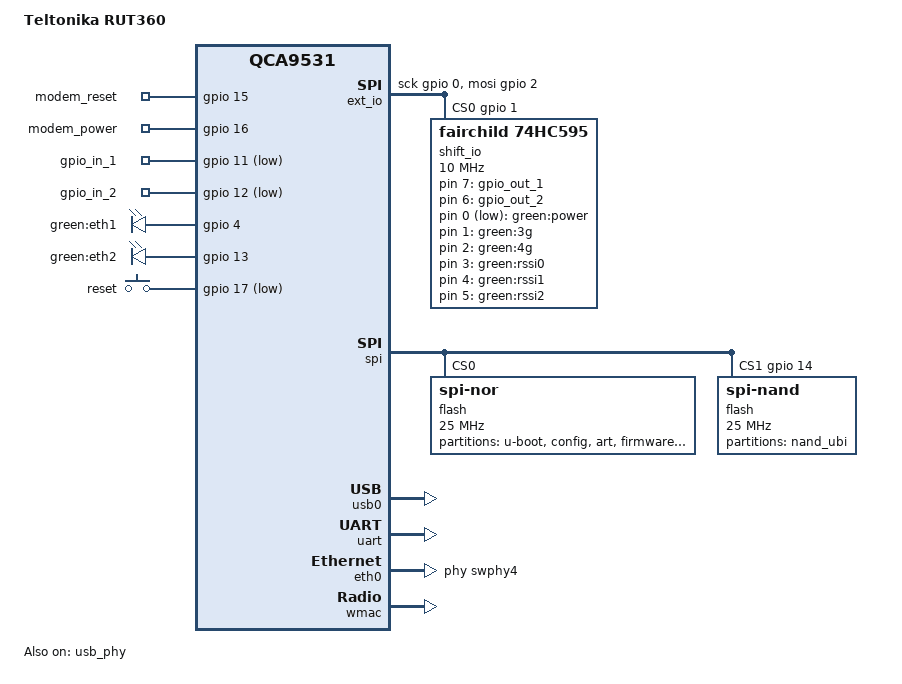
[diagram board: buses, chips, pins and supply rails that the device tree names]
// SPDX-License-Identifier: GPL-2.0-or-later OR MIT
/dts-v1/;

#include <dt-bindings/gpio/gpio.h>
#include <dt-bindings/input/input.h>
#include "qca953x.dtsi"

/ {
	compatible = "teltonika,rut360", "teltonika,rut36x", "qca,qca9531";
	model = "Teltonika RUT360";

	aliases {
		label-mac-device = &eth1;
		led-boot = &led_power;
		led-failsafe = &led_rssi0;
		led-running = &led_power;
		led-upgrade = &led_rssi0;
		serial0 = &uart;
	};

	ext_io {
		compatible = "spi-gpio";
		#address-cells = <1>;
		#size-cells = <0>;

		gpio-sck = <&gpio 0 GPIO_ACTIVE_HIGH>;  // SRCLK
		gpio-mosi = <&gpio 2 GPIO_ACTIVE_HIGH>; // SER
		cs-gpios = <&gpio 1 GPIO_ACTIVE_HIGH>;  // RCLK
		num-chipselects = <1>;

		shift_io: shift_io@0 {
			compatible = "fairchild,74hc595";
			reg = <0>;
			gpio-controller;
			#gpio-cells = <2>;
			registers-number = <2>;
			spi-max-frequency = <10000000>;
		};
	};

	gpio-export {
		compatible = "gpio-export";

		gpio_modem_reset {
			gpio-export,name = "modem_reset";
			gpio-export,output = <0>;
			gpios = <&gpio 15 GPIO_ACTIVE_HIGH>;
		};

		gpio_modem_power {
			gpio-export,name = "modem_power";
			gpio-export,output = <0>;
			gpios = <&gpio 16 GPIO_ACTIVE_HIGH>;
		};

		gpio_in_1 {
			gpio-export,name = "gpio_in_1";
			gpio-export,input = <0>;
			gpios = <&gpio 11 GPIO_ACTIVE_LOW>;
		};

		gpio_in_2 {
			gpio-export,name = "gpio_in_2";
			gpio-export,input = <0>;
			gpios = <&gpio 12 GPIO_ACTIVE_LOW>;
		};

		gpio_out_1 {
			gpio-export,name = "gpio_out_1";
			gpio-export,output = <0>;
			gpios = <&shift_io 7 GPIO_ACTIVE_HIGH>;
		};

		gpio_out_2 {
			gpio-export,name = "gpio_out_2";
			gpio-export,output = <0>;
			gpios = <&shift_io 6 GPIO_ACTIVE_HIGH>;
		};
	};

	leds {
		compatible = "gpio-leds";

		led-0 {
			label = "green:eth1";
			gpios = <&gpio 4 GPIO_ACTIVE_HIGH>;
		};

		led-1 {
			label = "green:eth2";
			gpios = <&gpio 13 GPIO_ACTIVE_HIGH>;
		};

		led_power: led-2 {
			label = "green:power";
			gpios = <&shift_io 0 GPIO_ACTIVE_LOW>;
			default-state = "on";
			retain-state-suspended;
		};

		led-3 {
			label = "green:3g";
			gpios = <&shift_io 1 GPIO_ACTIVE_HIGH>;
		};

		led-4 {
			label = "green:4g";
			gpios = <&shift_io 2 GPIO_ACTIVE_HIGH>;
		};

		led_rssi0: led-5 {
			label = "green:rssi0";
			gpios = <&shift_io 3 GPIO_ACTIVE_HIGH>;
		};

		led-6 {
			label = "green:rssi1";
			gpios = <&shift_io 4 GPIO_ACTIVE_HIGH>;
		};

		led-7 {
			label = "green:rssi2";
			gpios = <&shift_io 5 GPIO_ACTIVE_HIGH>;
		};
	};

	keys {
		compatible = "gpio-keys";

		reset {
			label = "reset";
			linux,code = <KEY_RESTART>;
			gpios = <&gpio 17 GPIO_ACTIVE_LOW>;
		};
	};
};

&spi {
	status = "okay";

	num-cs = <2>;
	cs-gpios = <0>, <&gpio 14 GPIO_ACTIVE_HIGH>;

	flash@0 {
		compatible = "jedec,spi-nor";
		reg = <0>;
		spi-max-frequency = <25000000>;

		partitions {
			compatible = "fixed-partitions";
			#address-cells = <1>;
			#size-cells = <1>;

			partition@0 {
				label = "u-boot";
				reg = <0x000000 0x020000>;
				read-only;
			};

			config: partition@20000 {
				label = "config";
				reg = <0x020000 0x010000>;
				read-only;

				nvmem-layout {
					compatible = "fixed-layout";
					#address-cells = <1>;
					#size-cells = <1>;

					macaddr_config_0: macaddr@0 {
						compatible = "mac-base";
						reg = <0x0 0x6>;
						#nvmem-cell-cells = <1>;
					};
				};
			};

			partition@30000 {
				label = "art";
				reg = <0x030000 0x010000>;
				read-only;

				nvmem-layout {
					compatible = "fixed-layout";
					#address-cells = <1>;
					#size-cells = <1>;

					cal_art_1000: calibration@1000 {
						reg = <0x1000 0x440>;
					};
				};
			};

			partition@40000 {
				compatible = "denx,uimage";
				label = "firmware";
				reg = <0x040000 0xf30000>;
			};

			partition@f70000 {
				label = "event-log";
				reg = <0xf70000 0x090000>;
			};
		};
	};

	flash@1 {
		compatible = "spi-nand";
		reg = <1>;
		spi-max-frequency = <25000000>;

		partitions {
			compatible = "fixed-partitions";
			#address-cells = <1>;
			#size-cells = <1>;

			partition@0 {
				label = "nand_ubi";
				reg = <0x0 0x10000000>;
			};
		};
	};
};

&usb0 {
	status = "okay";
};

&usb_phy {
	status = "okay";
};

&uart {
	status = "okay";
};

&eth0 {
	status = "okay";

	phy-handle = <&swphy4>;

	nvmem-cells = <&macaddr_config_0 1>;
	nvmem-cell-names = "mac-address";
};

&eth1 {
	nvmem-cells = <&macaddr_config_0 0>;
	nvmem-cell-names = "mac-address";
};

&wmac {
	status = "okay";

	nvmem-cells = <&macaddr_config_0 2>, <&cal_art_1000>;
	nvmem-cell-names = "mac-address", "calibration";
};
